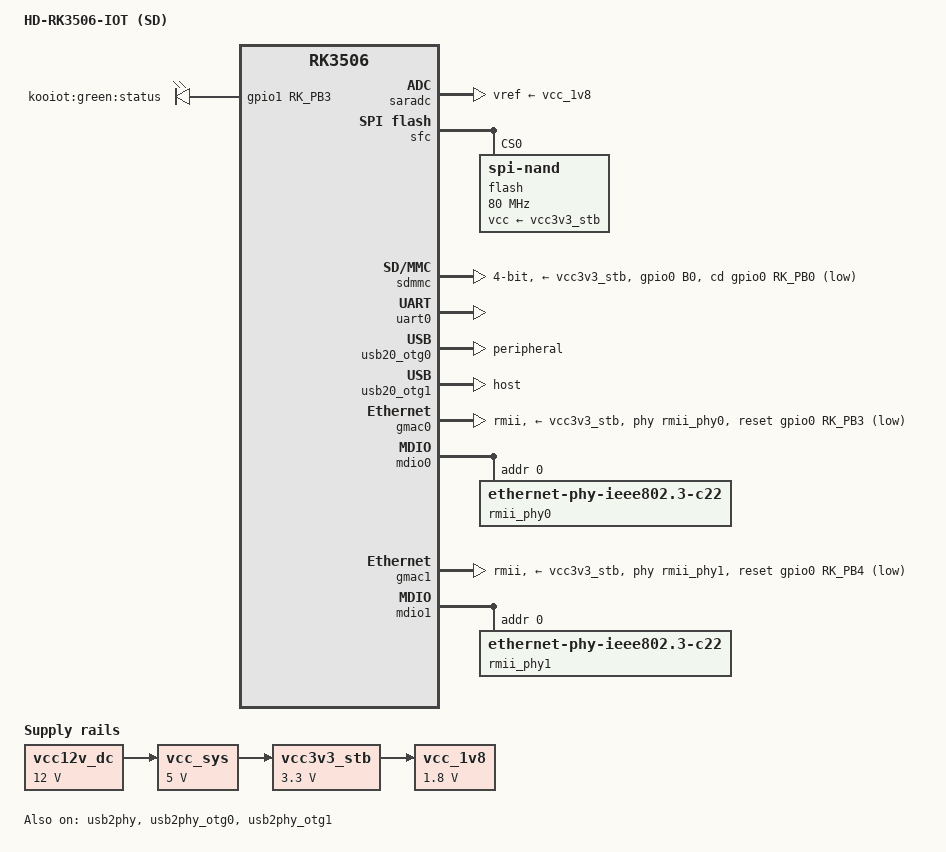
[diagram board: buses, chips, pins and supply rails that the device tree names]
// SPDX-License-Identifier: (GPL-2.0+ OR MIT)

/dts-v1/;

#include <dt-bindings/leds/common.h>
#include "rk3506.dtsi"

/ {
	model = "HD-RK3506-IOT (SD)";
	compatible = "vanxoak,vx-hd-rk3506-iot-spinand", "rockchip,rk3506";

	aliases {
		ethernet0 = <&gmac0>;
		ethernet1 = <&gmac1>;
		mmc0 = &sdmmc;
		serial0 = &uart0;
		spi0 = &sfc;
	};

	chosen {
		stdout-path = "serial0:115200n8";
	};

	leds {
		compatible = "gpio-leds";

		status_led: status-led {
			label = "kooiot:green:status";
			gpios = <&gpio1 RK_PB3 GPIO_ACTIVE_HIGH>;
			linux,default-trigger = "heartbeat";
			pinctrl-names = "default";
			pinctrl-0 = <&status_led>;
		};
	};

	vcc12v_dc: vcc12v-dc {
		compatible = "regulator-fixed";
		regulator-name = "vcc12v_dc";
		regulator-always-on;
		regulator-boot-on;
		regulator-min-microvolt = <12000000>;
		regulator-max-microvolt = <12000000>;
	};

	vcc_sys: vcc-sys {
		compatible = "regulator-fixed";
		regulator-name = "vcc_sys";
		regulator-always-on;
		regulator-boot-on;
		regulator-min-microvolt = <5000000>;
		regulator-max-microvolt = <5000000>;
		vin-supply = <&vcc12v_dc>;
	};

	vcc3v3_stb: vcc3v3-stb {
		compatible = "regulator-fixed";
		regulator-name = "vcc3v3_stb";
		regulator-always-on;
		regulator-boot-on;
		regulator-min-microvolt = <3300000>;
		regulator-max-microvolt = <3300000>;
		vin-supply = <&vcc_sys>;
	};

	vcc_1v8: vcc-1v8 {
		compatible = "regulator-fixed";
		regulator-name = "vcc_1v8";
		regulator-always-on;
		regulator-boot-on;
		regulator-min-microvolt = <1800000>;
		regulator-max-microvolt = <1800000>;
		vin-supply = <&vcc3v3_stb>;
	};
};

&saradc {
	vref-supply = <&vcc_1v8>;
	status = "okay";
};

&sfc {
	status = "okay";

	flash@0 {
		compatible = "spi-nand";
		reg = <0>;
		spi-max-frequency = <80000000>;
		spi-rx-bus-width = <4>;
		spi-tx-bus-width = <1>;
		vcc-supply = <&vcc3v3_stb>;
	};
};

&sdmmc {
	bus-width = <4>;
	cd-gpios = <&gpio0 RK_PB0 GPIO_ACTIVE_LOW>;
	cap-sd-highspeed;
	disable-wp;
	no-sdio;
	no-mmc;
	no-1-8-v;
	pinctrl-names = "default";
	pinctrl-0 = <&sdmmc_bus4>, <&sdmmc_clk>, <&sdmmc_cmd>, <&sdmmc_det_pin>;
	vmmc-supply = <&vcc3v3_stb>;
	vqmmc-supply = <&vcc3v3_stb>;
	status = "okay";
};

&uart0 {
	status = "okay";
};

&usb2phy {
	status = "okay";
};

&usb2phy_otg0 {
	status = "okay";
};

&usb2phy_otg1 {
	status = "okay";
};

&usb20_otg0 {
	dr_mode = "peripheral";
	status = "okay";
};

&usb20_otg1 {
	dr_mode = "host";
	status = "okay";
};

&gmac0 {
	phy-mode = "rmii";
	clock_in_out = "input";

	snps,reset-gpio = <&gpio0 RK_PB3 GPIO_ACTIVE_LOW>;
	snps,reset-active-low;
	snps,reset-delays-us = <0 20000 100000>;

	assigned-clocks = <&cru CLK_MAC0_PTP>;
	assigned-clock-parents = <&ext_gmac0>;

	pinctrl-names = "default";
	pinctrl-0 = <&eth_rmii0_miim>, <&eth_rmii0_tx_bus2>,
		    <&eth_rmii0_rx_bus2>, <&eth_rmii0_clk>;

	phy-handle = <&rmii_phy0>;
	phy-supply = <&vcc3v3_stb>;

	status = "okay";
};

&mdio0 {
	rmii_phy0: ethernet-phy@0 {
		compatible = "ethernet-phy-ieee802.3-c22";
		reg = <0>;
	};
};

&gmac1 {
	phy-mode = "rmii";
	clock_in_out = "input";

	snps,reset-gpio = <&gpio0 RK_PB4 GPIO_ACTIVE_LOW>;
	snps,reset-active-low;
	snps,reset-delays-us = <0 20000 100000>;

	assigned-clocks = <&cru CLK_MAC1_PTP>;
	assigned-clock-parents = <&ext_gmac1>;

	pinctrl-names = "default";
	pinctrl-0 = <&eth_rmii1_miim>, <&eth_rmii1_tx_bus2>,
		    <&eth_rmii1_rx_bus2>, <&eth_rmii1_clk>;

	phy-handle = <&rmii_phy1>;
	phy-supply = <&vcc3v3_stb>;

	status = "okay";
};


&mdio1 {
	rmii_phy1: ethernet-phy@0 {
		compatible = "ethernet-phy-ieee802.3-c22";
		reg = <0>;
	};
};

&pinctrl {
	ethernet {
		/omit-if-no-ref/
		rmii0_rstn: rmii0-rstn {
			rockchip,pins = <0 RK_PB3 RK_FUNC_GPIO &pcfg_pull_none>;
		};

		/omit-if-no-ref/
		rmii1_rstn: rmii1-rstn {
			rockchip,pins = <0 RK_PB4 RK_FUNC_GPIO &pcfg_pull_none>;
		};
	};

	leds {
		/omit-if-no-ref/
		status_led: status-led {
			rockchip,pins = <1 RK_PB3 RK_FUNC_GPIO &pcfg_pull_none>;
		};
	};

	sdmmc {
		/omit-if-no-ref/
		sdmmc_det_pin: sdmmc-det-pin {
			rockchip,pins = <0 RK_PB0 RK_FUNC_GPIO &pcfg_pull_up>;
		};
	};
};

